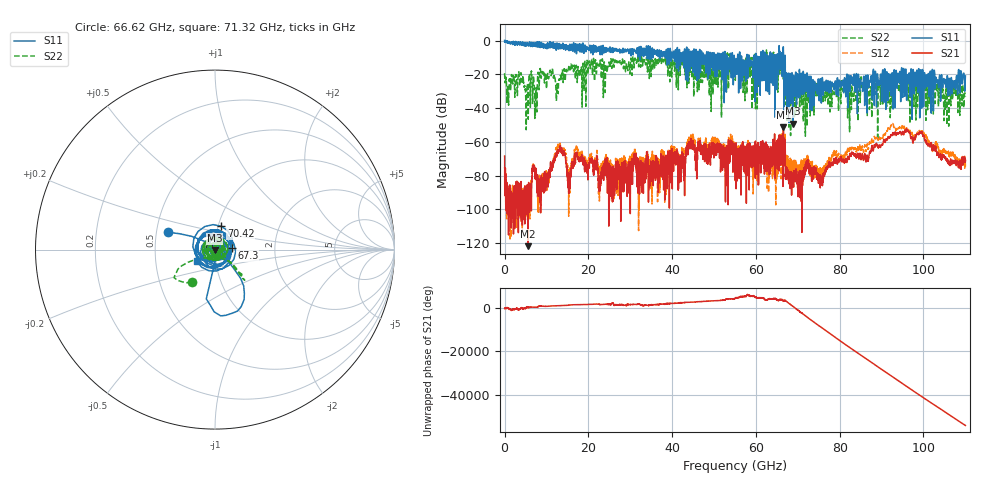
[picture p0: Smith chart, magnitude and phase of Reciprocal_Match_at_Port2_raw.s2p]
#  HZ  S  RI  R  50.00
! Rohde & Schwarz ZVA67 4Ports - Version 4.11 - 1305.7002k04 SN: 101032
! Date: 2026-02-18 15:50:21
! Measurements: S11 S21 S12 S22
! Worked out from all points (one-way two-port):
!   5500 points, 20 MHz to 110 GHz, reference 50 ohm
!   highest |S21| = -51.29 dB at 66.56 GHz (marker M1); lowest = -121.8 dB at 5.62 GHz (marker M2)
!   lowest |S11| = -49.2 dB at 68.8 GHz (marker M3), VSWR 1.01, Z = 49.9 - j0.338 ohm
!   |S11| at or under -10 dB: 56.62 GHz to 57.76 GHz (1.141 GHz wide, 2 % of centre); 58.4 GHz to 59.44 GHz (1.04 GHz wide, 1.77 % of centre); 66.98 GHz to end of sweep (the widest 3 of 67)
!   |S22| runs from -59.3 to -5.5 dB; largest |S21 - S12| = 0.0053
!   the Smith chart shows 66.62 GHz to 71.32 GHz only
!   S11 on the Smith chart (normalised r, x): 66.62 GHz: 0.57, +0.12; 67.3 GHz: 1.20, +0.02; 70.42 GHz: 1.03, +0.27; 71.32 GHz: 0.81, -0.10
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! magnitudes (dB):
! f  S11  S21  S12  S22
! 20 MHz  0.1  -68.4  -75.0  -19.3
! 5.62 GHz  -2.0  -121.8  -90.1  -40.4
! 10.36 GHz  -1.6  -79.4  -78.4  -20.2
! 12.96 GHz  -3.0  -65.3  -62.0  -23.4
! 15.38 GHz  -4.9  -87.0  -80.7  -15.4
! 18.36 GHz  -3.4  -69.1  -66.2  -15.6
! 22.86 GHz  -8.1  -82.6  -75.4  -11.6
! 30.94 GHz  -5.5  -73.0  -65.1  -14.9
! 36.68 GHz  -9.2  -71.8  -78.4  -12.8
! 42.6 GHz  -6.8  -72.4  -68.4  -13.0
! 44.58 GHz  -15.1  -61.1  -56.6  -10.2
! 55.02 GHz  -20.7  -65.6  -70.1  -19.7
! 66.56 GHz  -5.7  -51.3  -63.8  -17.4
! 66.62 GHz  -11.0  -59.5  -63.9  -13.1
! 67.3 GHz  -20.7  -79.7  -68.0  -26.2
! 68.8 GHz  -49.2  -82.0  -74.2  -27.6
! 70.42 GHz  -17.4  -78.6  -77.9  -35.7
! 71.32 GHz  -18.4  -77.5  -70.4  -48.0
! 73.34 GHz  -39.0  -78.7  -77.7  -32.3
! 91.68 GHz  -19.6  -57.1  -52.1  -33.3
! 99.28 GHz  -17.7  -54.7  -54.4  -25.1
! 110 GHz  -20.9  -71.2  -74.7  -33.1
